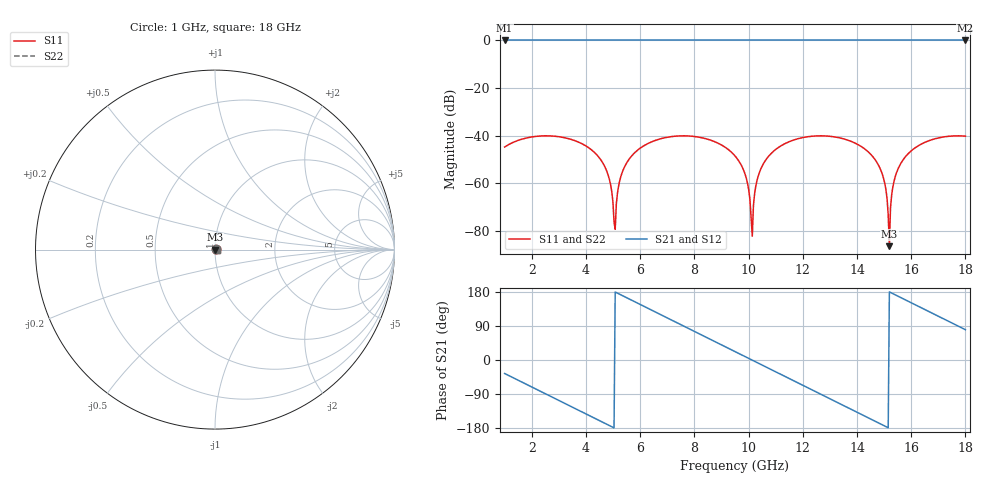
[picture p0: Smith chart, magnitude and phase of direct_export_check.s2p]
# ghz S RI R 50.0
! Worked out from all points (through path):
!   401 points, 1 GHz to 18 GHz, reference 50 ohm
!   highest |S21| = -0.01 dB at 1 GHz (marker M1); lowest = 0.0 dB at 18 GHz (marker M2)
!   group delay of S21, straight-line fit = 98.8 ps
!   lowest |S11| = -86.4 dB at 15.2 GHz (marker M3), VSWR 1.00, Z = 50 + j0.00462 ohm
!   |S11| at or under -10 dB: start of sweep to end of sweep
!   |S22| runs from -86.4 to -40.1 dB; largest |S21 - S12| = 1e-12
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1  0.00337 0.0047  0.8129 -0.5811  0.8129 -0.5811  0.00337 0.0047
2.445  0.00991 0.000531  0.0534 -0.9977  0.0534 -0.9977  0.00991 0.000531
3.8475  0.00466 -0.00496  -0.7283 -0.684  -0.7283 -0.684  0.00466 -0.00496
4.655  0.000631 -0.00241  -0.9673 -0.25  -0.9673 -0.25  0.000631 -0.00241
5.08  1.01e-05 0.000108  -0.999 0.0109  -0.999 0.0109  1.01e-05 0.000108
5.2925  0.00021 0.0014  -0.9889 0.1421  -0.9889 0.1421  0.00021 0.0014
5.5475  0.000882 0.00281  -0.9542 0.2962  -0.9542 0.2962  0.000882 0.00281
6.695  0.00716 0.00446  -0.5287 0.8476  -0.5287 0.8476  0.00716 0.00446
8.055  0.00915 -0.00269  0.282 0.9583  0.282 0.9583  0.00915 -0.00269
9.5  0.00143 -0.00348  0.9247 0.3778  0.9247 0.3778  0.00143 -0.00348
9.8825  0.000234 -0.00147  0.9876 0.1498  0.9876 0.1498  0.000234 -0.00147
10.1375  1.13e-05 7.7e-05  0.9989 -0.00775  0.9989 -0.00775  1.13e-05 7.7e-05
10.35  0.000203 0.00137  0.9892 -0.139  0.9892 -0.139  0.000203 0.00137
10.7325  0.00136 0.0034  0.9287 -0.3677  0.9287 -0.3677  0.00136 0.0034
12.3475  0.00958 0.00186  0.1902 -0.9805  0.1902 -0.9805  0.00958 0.00186
13.325  0.00832 -0.00366  -0.4027 -0.914  -0.4027 -0.914  0.00832 -0.00366
14.43  0.00205 -0.00401  -0.8904 -0.4524  -0.8904 -0.4524  0.00205 -0.00401
14.8975  0.00033 -0.00175  -0.9826 -0.1788  -0.9826 -0.1788  0.00033 -0.00175
15.195  1.27e-05 4.62e-05  -0.9987 0.00465  -0.9987 0.00465  1.27e-05 4.62e-05
15.45  0.000274 0.00159  -0.9855 0.162  -0.9855 0.162  0.000274 0.00159
15.9175  0.00191 0.00391  -0.898 0.4371  -0.898 0.4371  0.00191 0.00391
18  0.00964 -0.0017  0.1734 0.9834  0.1734 0.9834  0.00964 -0.0017
